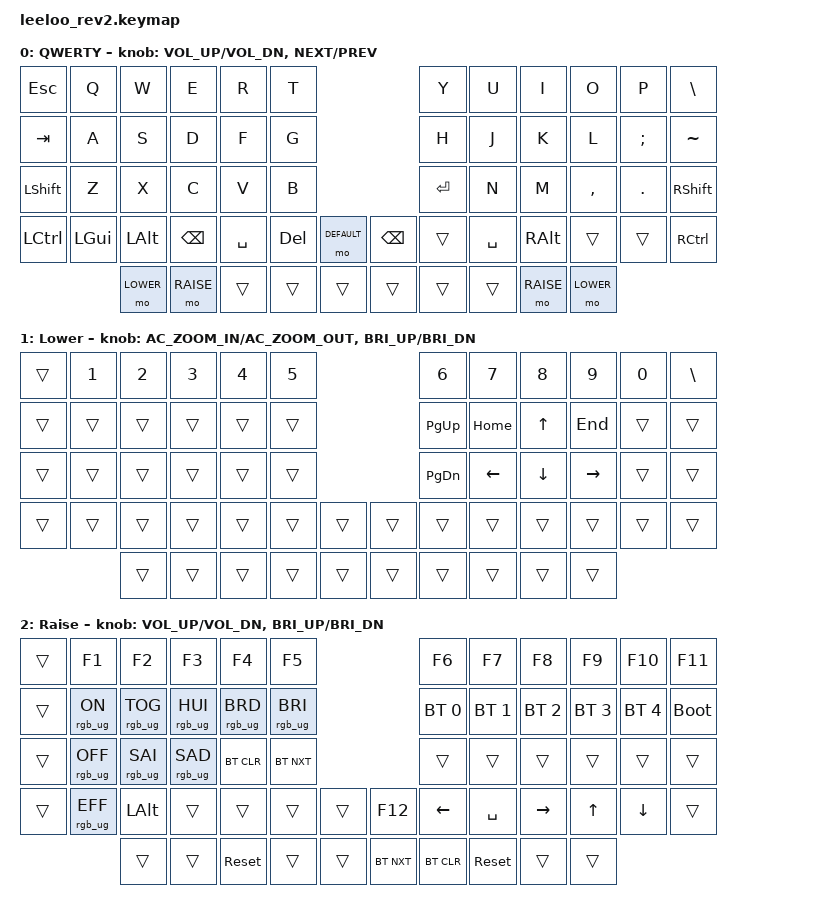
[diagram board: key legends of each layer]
/*
 * Copyright (c) 2023 The ZMK Contributors
 * SPDX-License-Identifier: MIT
 */

#include <behaviors.dtsi>
#include <dt-bindings/zmk/outputs.h>
#include <dt-bindings/zmk/keys.h>
#include <dt-bindings/zmk/bt.h>
#include <dt-bindings/zmk/rgb.h>
#include <dt-bindings/led/led.h>

// Short versions
#define RGBON   &rgb_ug RGB_ON
#define RGBOFF  &rgb_ug RGB_OFF
#define RGBTOG  &rgb_ug RGB_TOG
#define RGBHUI  &rgb_ug RGB_HUI
#define RGBHUD  &rgb_ug RGB_HUD
#define RGBSAI  &rgb_ug RGB_SAI
#define RGBSAD  &rgb_ug RGB_SAD
#define RGBBRI  &rgb_ug RGB_BRI
#define RGBBRD  &rgb_ug RGB_BRD
#define RGBEFF  &rgb_ug RGB_EFF

#define DEFAULT 0
#define LOWER   1
#define RAISE   2

/*
 * Assign the cs-gpios pin to 4.
 * Uncomment these next few lines if implementing nice!view Displays
 */

nice_view_spi: &spi0 {
cs-gpios = <&pro_micro 4 GPIO_ACTIVE_HIGH>;

}; 

//////////////////////////////////////// Pin para RGB ws2812 ////////////////////////////////////////////////

//////////////////////////////////////////////////


/ {

    keymap {
        compatible = "zmk,keymap";

        default_layer {
            label = " QWERTY";
            bindings = <
&kp ESC    &kp Q      &kp W      &kp E      &kp R      &kp T                                   &kp Y       &kp U       &kp I      &kp O      &kp P      &kp BSLH
&kp TAB    &kp A      &kp S      &kp D      &kp F      &kp G                                   &kp H       &kp J       &kp K      &kp L      &kp SEMI   &kp TILDE
&kp LSHFT  &kp Z      &kp X      &kp C      &kp V      &kp B                                   &kp ENTER   &kp N       &kp M      &kp COMMA  &kp DOT    &kp RSHFT
&kp LCTRL  &kp LGUI   &kp LALT   &kp BSPC   &kp SPACE  &kp DEL    &mo DEFAULT      &kp BSPC    &trans      &kp SPACE   &kp RALT   &trans     &trans     &kp RCTRL
                      &mo LOWER  &mo RAISE  &trans     &trans     &trans           &trans      &trans      &trans      &mo RAISE  &mo LOWER
                                                                                   
            >;

            sensor-bindings = <&inc_dec_kp C_VOL_UP C_VOL_DN &inc_dec_kp C_NEXT C_PREV>;
        };

        lower_layer {
            label = " Lower";
            bindings = <

&trans     &kp N1     &kp N2     &kp N3     &kp N4     &kp N5                               &kp N6     &kp N7     &kp N8     &kp N9     &kp N0     &kp BSLH
&trans     &trans     &trans     &trans     &trans     &trans                               &kp PG_UP  &kp HOME   &kp UP     &kp END    &trans     &trans
&trans     &trans     &trans     &trans     &trans     &trans                               &kp PG_DN  &kp LEFT   &kp DOWN   &kp RIGHT  &trans     &trans
&trans     &trans     &trans     &trans     &trans     &trans     &trans         &trans     &trans     &trans     &trans     &trans     &trans     &trans
                      &trans     &trans     &trans     &trans     &trans         &trans     &trans     &trans     &trans     &trans

        
            >;
            
            sensor-bindings = <&inc_dec_kp C_AC_ZOOM_IN C_AC_ZOOM_OUT &inc_dec_kp C_BRI_UP C_BRI_DN>;
        };

        raise_layer {
            label = " Raise";
            bindings = <

&trans     &kp F1     &kp F2     &kp F3     &kp F4       &kp F5                                      &kp F6        &kp F7        &kp F8        &kp F9        &kp F10       &kp F11
&trans     RGBON      RGBTOG     RGBHUI     RGBBRD       RGBBRI                                      &bt BT_SEL 0  &bt BT_SEL 1  &bt BT_SEL 2  &bt BT_SEL 3  &bt BT_SEL 4  &bootloader
&trans     RGBOFF     RGBSAI     RGBSAD     &bt BT_CLR   &bt BT_NXT                                  &trans        &trans        &trans        &trans        &trans        &trans
&trans     RGBEFF     &kp LALT   &trans     &trans       &trans     &trans             &kp F12       &kp LEFT      &kp SPACE     &kp RIGHT     &kp UP        &kp DOWN      &trans
                      &trans     &trans     &sys_reset   &trans     &trans             &bt BT_NXT    &bt BT_CLR    &sys_reset    &trans        &trans
   
            >;

            sensor-bindings = <&inc_dec_kp C_VOL_UP C_VOL_DN &inc_dec_kp C_BRI_UP C_BRI_DN>;
        };

    };
};
